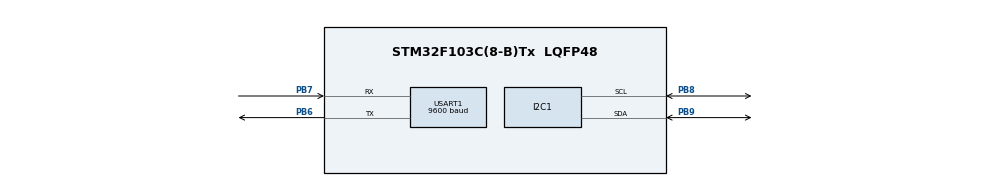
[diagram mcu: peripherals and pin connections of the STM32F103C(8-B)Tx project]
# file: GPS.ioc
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Mcu.Family=STM32F1
Mcu.Name=STM32F103C(8-B)Tx
Mcu.Package=LQFP48
NVIC.PriorityGroup=NVIC_PRIORITYGROUP_4
NVIC.USART1_IRQn=true\:0\:0\:false\:false\:true\:true\:true
PA13.Mode=Serial_Wire
PA13.Signal=SYS_JTMS-SWDIO
PA14.Mode=Serial_Wire
PA14.Signal=SYS_JTCK-SWCLK
PB6.Mode=Asynchronous
PB6.Signal=USART1_TX
PB7.Mode=Asynchronous
PB7.Signal=USART1_RX
PB8.Mode=I2C
PB8.Signal=I2C1_SCL
PB9.Mode=I2C
PB9.Signal=I2C1_SDA
ProjectManager.HeapSize=0x200
ProjectManager.StackSize=0x400
ProjectManager.TargetToolchain=MDK-ARM V5.32
RCC.APB1Freq_Value=8000000
RCC.APB2Freq_Value=8000000
USART1.BaudRate=9600
USART1.VirtualMode=VM_ASYNC
board=custom

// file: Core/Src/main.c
/* USER CODE BEGIN Header */
/**
  ******************************************************************************
  * @file           : main.c
  * @brief          : Main program body
  ******************************************************************************
  * @attention
  *
  * <h2><center>&copy; Copyright (c) 2023 STMicroelectronics.
  * All rights reserved.</center></h2>
  *
  * This software component is licensed by ST under BSD 3-Clause license,
  * the "License"; You may not use this file except in compliance with the
  * License. You may obtain a copy of the License at:
  *                        opensource.org/licenses/BSD-3-Clause
  *
  ******************************************************************************
  */
/* USER CODE END Header */
#include "main.h"

/* USER CODE BEGIN Includes */
#include "uartRingBuffer.h"
#include "NMEA.h"
#include "i2c-lcd.h"
#include "stdio.h"
#include "string.h"
/* USER CODE END Includes */

I2C_HandleTypeDef hi2c1;

UART_HandleTypeDef huart1;

void SystemClock_Config(void);
static void MX_GPIO_Init(void);
static void MX_I2C1_Init(void);
static void MX_USART1_UART_Init(void);

/* USER CODE BEGIN 0 */

char GGA[100];
char GGA_norm[100];
char RMC[100];

/*void HAL_UART_RxCpltCallback(UART_HandleTypeDef*huart)
{
	//check_message = 1;
	HAL_UART_Receive_IT(&huart1, (uint8_t*)GGA, 100);
}*/

GPSSTRUCT gpsData;

int flagGGA = 0, flagRMC = 0;
char lcdBuffer [50];
int a = 0;

int VCCTimeout = 5000; // GGA or RMC will not be received if the VCC is not sufficient

/* USER CODE END 0 */

int main(void)
{

  /* MCU Configuration--------------------------------------------------------*/

  /* Reset of all peripherals, Initializes the Flash interface and the Systick. */
  HAL_Init();

  /* Configure the system clock */
  SystemClock_Config();

  /* Initialize all configured peripherals */
  MX_GPIO_Init();
  MX_I2C1_Init();
  MX_USART1_UART_Init();
  /* USER CODE BEGIN 2 */
	//lcd_init();

  Ringbuf_init();
  HAL_Delay (500);

//HAL_UART_Receive_IT(&huart1, (uint8_t*)GGA, 100);

  /* USER CODE END 2 */

  /* Infinite loop */
  /* USER CODE BEGIN WHILE */
  while (1)
	{
		a = Uart_read();
		//a = IsDataAvailable();
		//a = Wait_for("GGA");
		//Copy_upto("*", GGA_norm);
	//decodeGGA(GGA, &gpsData.ggastruct);
		//if (decodeGGA(GGA, &gpsData.ggastruct) == 0) flagGGA = 2;
		//a = gpsData.rmcstruct.date.Day;
		//lcd_send_string("   NO FIX YET   ");

    /* USER CODE END WHILE */

    /* USER CODE BEGIN 3 */

		/*if (Wait_for("GGA") == 1)
	  {

		  VCCTimeout = 5000;  // Reset the VCC Timeout indicating the GGA is being received

		  Copy_upto("*", GGA);
		  if (decodeGGA(GGA, &gpsData.ggastruct) == 0) flagGGA = 2;  // 2 indicates the data is valid
		  else flagGGA = 1;  // 1 indicates the data is invalid
	  }

	  if (Wait_for("RMC") == 1)
	  {

		  VCCTimeout = 5000;  // Reset the VCC Timeout indicating the RMC is being received

		  Copy_upto("*", RMC);
		  if (decodeRMC(RMC, &gpsData.rmcstruct) == 0) flagRMC = 2;  // 2 indicates the data is valid
		  else flagRMC = 1;  // 1 indicates the data is invalid
	  }

	  if ((flagGGA == 2) | (flagRMC == 2))
	  {
		  //lcd_put_cur(0, 0);
		  sprintf (lcdBuffer, "%02d:%02d:%02d, %02d%02d%02d", gpsData.ggastruct.tim.hour, \
				  gpsData.ggastruct.tim.min, gpsData.ggastruct.tim.sec, gpsData.rmcstruct.date.Day, \
				  gpsData.rmcstruct.date.Mon, gpsData.rmcstruct.date.Yr);
		  lcd_send_string(lcdBuffer);
		  memset(lcdBuffer, '\0', 50);
		  //lcd_put_cur(1, 0);
		  sprintf (lcdBuffer, "%.2f%c, %.2f%c  ", gpsData.ggastruct.lcation.latitude, gpsData.ggastruct.lcation.NS,\
				  gpsData.ggastruct.lcation.longitude, gpsData.ggastruct.lcation.EW);
		  lcd_send_string(lcdBuffer);
	  }

	  else if ((flagGGA == 1) | (flagRMC == 1))
	  {
		  // Instead of clearing the display, it's better if we print spaces.
		  // This will avoid the "refreshing" part
		  lcd_put_cur(0, 0);
		  lcd_send_string("   NO FIX YET   ");
		  lcd_put_cur(1, 0);
		  lcd_send_string("   Please wait  ");
	  }

	  if (VCCTimeout <= 0)
	  {
		  VCCTimeout = 5000;  // Reset the timeout

		  //reset flags
		  flagGGA =flagRMC =0;

		  // You are here means the VCC is less, or maybe there is some connection issue
		  // Check the VCC, also you can try connecting to the external 5V

		  lcd_put_cur(0, 0);
		  lcd_send_string("    VCC Issue   ");
		  lcd_put_cur(1, 0);
		  lcd_send_string("Check Connection");
	  }*/

  }
  /* USER CODE END 3 */
}

void SystemClock_Config(void)
{
  RCC_OscInitTypeDef RCC_OscInitStruct = {0};
  RCC_ClkInitTypeDef RCC_ClkInitStruct = {0};

  /** Initializes the RCC Oscillators according to the specified parameters
  * in the RCC_OscInitTypeDef structure.
  */
  RCC_OscInitStruct.OscillatorType = RCC_OSCILLATORTYPE_HSI;
  RCC_OscInitStruct.HSIState = RCC_HSI_ON;
  RCC_OscInitStruct.HSICalibrationValue = RCC_HSICALIBRATION_DEFAULT;
  RCC_OscInitStruct.PLL.PLLState = RCC_PLL_NONE;
  if (HAL_RCC_OscConfig(&RCC_OscInitStruct) != HAL_OK)
  {
    Error_Handler();
  }
  /** Initializes the CPU, AHB and APB buses clocks
  */
  RCC_ClkInitStruct.ClockType = RCC_CLOCKTYPE_HCLK|RCC_CLOCKTYPE_SYSCLK
                              |RCC_CLOCKTYPE_PCLK1|RCC_CLOCKTYPE_PCLK2;
  RCC_ClkInitStruct.SYSCLKSource = RCC_SYSCLKSOURCE_HSI;
  RCC_ClkInitStruct.AHBCLKDivider = RCC_SYSCLK_DIV1;
  RCC_ClkInitStruct.APB1CLKDivider = RCC_HCLK_DIV1;
  RCC_ClkInitStruct.APB2CLKDivider = RCC_HCLK_DIV1;

  if (HAL_RCC_ClockConfig(&RCC_ClkInitStruct, FLASH_LATENCY_0) != HAL_OK)
  {
    Error_Handler();
  }
}

static void MX_I2C1_Init(void)
{

  hi2c1.Instance = I2C1;
  hi2c1.Init.ClockSpeed = 100000;
  hi2c1.Init.DutyCycle = I2C_DUTYCYCLE_2;
  hi2c1.Init.OwnAddress1 = 0;
  hi2c1.Init.AddressingMode = I2C_ADDRESSINGMODE_7BIT;
  hi2c1.Init.DualAddressMode = I2C_DUALADDRESS_DISABLE;
  hi2c1.Init.OwnAddress2 = 0;
  hi2c1.Init.GeneralCallMode = I2C_GENERALCALL_DISABLE;
  hi2c1.Init.NoStretchMode = I2C_NOSTRETCH_DISABLE;
  if (HAL_I2C_Init(&hi2c1) != HAL_OK)
  {
    Error_Handler();
  }

}

static void MX_USART1_UART_Init(void)
{

  huart1.Instance = USART1;
  huart1.Init.BaudRate = 9600;
  huart1.Init.WordLength = UART_WORDLENGTH_8B;
  huart1.Init.StopBits = UART_STOPBITS_1;
  huart1.Init.Parity = UART_PARITY_NONE;
  huart1.Init.Mode = UART_MODE_TX_RX;
  huart1.Init.HwFlowCtl = UART_HWCONTROL_NONE;
  huart1.Init.OverSampling = UART_OVERSAMPLING_16;
  if (HAL_UART_Init(&huart1) != HAL_OK)
  {
    Error_Handler();
  }

}

static void MX_GPIO_Init(void)
{

  /* GPIO Ports Clock Enable */
  __HAL_RCC_GPIOA_CLK_ENABLE();
  __HAL_RCC_GPIOB_CLK_ENABLE();

}

void Error_Handler(void)
{
  __disable_irq();
  while (1)
  {
  }
}

/************************ (C) COPYRIGHT STMicroelectronics *****END OF FILE****/
